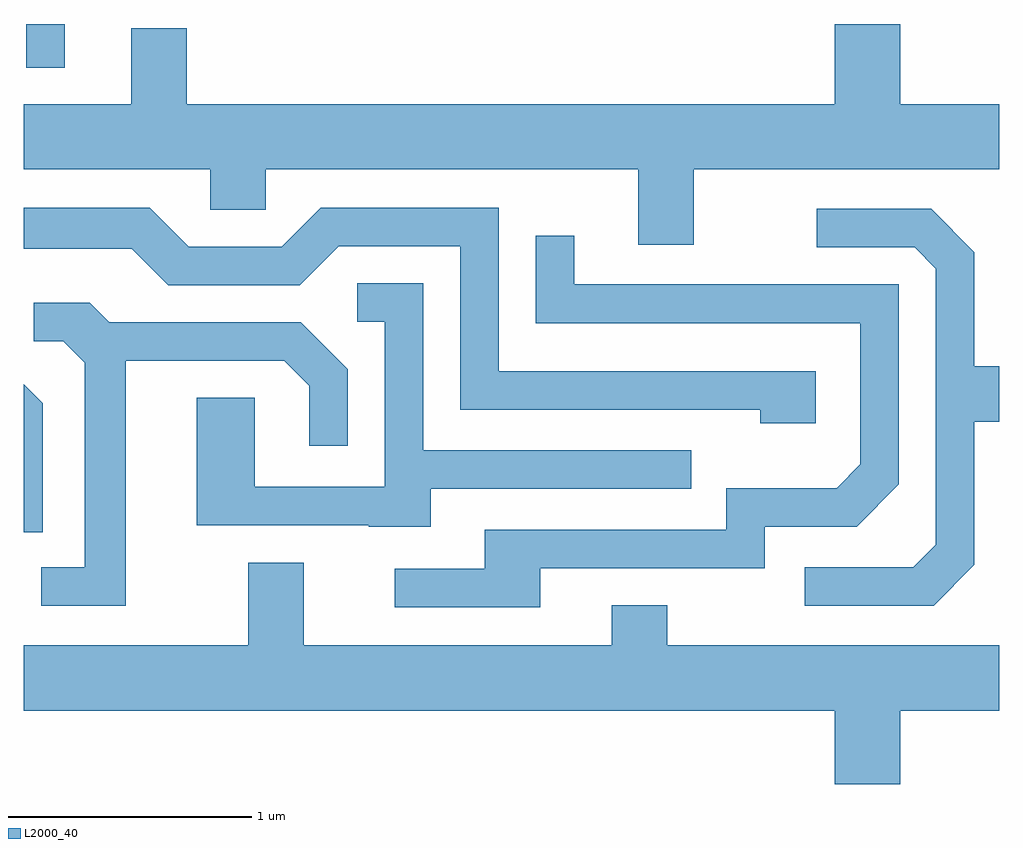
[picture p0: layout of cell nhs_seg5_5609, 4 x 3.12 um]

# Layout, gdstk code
import gdstk
lib = gdstk.Library(unit=1e-6, precision=1e-09)
def R(c, l, rs):  # rectangles x0, y0, x1, y1
    for r in rs: c.add(gdstk.rectangle(r[:2], r[2:], *l))
def P(c, l, *ps):  # polygons
    for p in ps: c.add(gdstk.Polygon(p, *l))
L2000_40 = (2000, 40)

nhs_seg5_5609 = lib.new_cell('nhs_seg5_5609')
R(nhs_seg5_5609, L2000_40, [(351.621,1443.893,351.779,1444.072)])
P(nhs_seg5_5609, L2000_40, [(354.359,1443.476),(355.611,1443.476),(355.611,1443.744),(355.204,1443.744),(355.204,1444.072),(354.936,1444.072),(354.936,1443.744),(352.279,1443.744),(352.279,1444.054),(352.051,1444.054),(352.051,1443.744),(351.611,1443.744),(351.611,1443.476),(352.376,1443.476),(352.376,1443.311),(352.604,1443.311),(352.604,1443.476),(354.131,1443.476),(354.131,1443.166),(354.359,1443.166)],
  [(354.859,1442.649),(353.559,1442.649),(353.559,1443.319),(352.829,1443.319),(352.669,1443.159),(352.287,1443.159),(352.127,1443.319),(351.611,1443.319),(351.611,1443.151),(352.054,1443.151),(352.204,1443.001),(352.742,1443.001),(352.902,1443.161),(353.401,1443.161),(353.401,1442.491),(354.631,1442.491),(354.631,1442.436),(354.859,1442.436)],
  [(355.509,1441.854),(355.509,1442.441),(355.611,1442.441),(355.611,1442.669),(355.509,1442.669),(355.509,1443.137),(355.332,1443.314),(354.863,1443.314),(354.863,1443.156),(355.264,1443.156),(355.351,1443.069),(355.351,1441.937),(355.259,1441.844),(354.813,1441.844),(354.813,1441.686),(355.342,1441.686)],
  [(353.729,1441.841),(354.649,1441.841),(354.649,1442.011),(355.027,1442.011),(355.199,1442.184),(355.199,1443.004),(353.869,1443.004),(353.869,1443.203),(353.711,1443.203),(353.711,1442.846),(355.041,1442.846),(355.041,1442.267),(354.944,1442.169),(354.491,1442.169),(354.491,1441.999),(353.501,1441.999),(353.501,1441.839),(353.133,1441.839),(353.133,1441.681),(353.729,1441.681)],
  [(353.279,1442.166),(354.348,1442.166),(354.348,1442.324),(353.249,1442.324),(353.249,1443.009),(352.978,1443.009),(352.978,1442.851),(353.091,1442.851),(353.091,1442.174),(352.559,1442.174),(352.559,1442.539),(352.321,1442.539),(352.321,1442.016),(353.025,1442.016),(353.025,1442.011),(353.279,1442.011)],
  [(352.029,1442.691),(352.679,1442.691),(352.781,1442.589),(352.781,1442.343),(352.939,1442.343),(352.939,1442.657),(352.747,1442.849),(351.962,1442.849),(351.882,1442.929),(351.653,1442.929),(351.653,1442.771),(351.774,1442.771),(351.861,1442.684),(351.861,1441.844),(351.683,1441.844),(351.683,1441.686),(352.029,1441.686)],
  [(351.689,1442.517),(351.611,1442.595),(351.611,1441.988),(351.689,1441.988)],
  [(355.204,1441.256),(355.611,1441.256),(355.611,1441.524),(354.249,1441.524),(354.249,1441.689),(354.021,1441.689),(354.021,1441.524),(352.759,1441.524),(352.759,1441.864),(352.531,1441.864),(352.531,1441.524),(351.611,1441.524),(351.611,1441.256),(354.936,1441.256),(354.936,1440.956),(355.204,1440.956)])

lib.write_gds('nhs_seg5_5609.gds')
